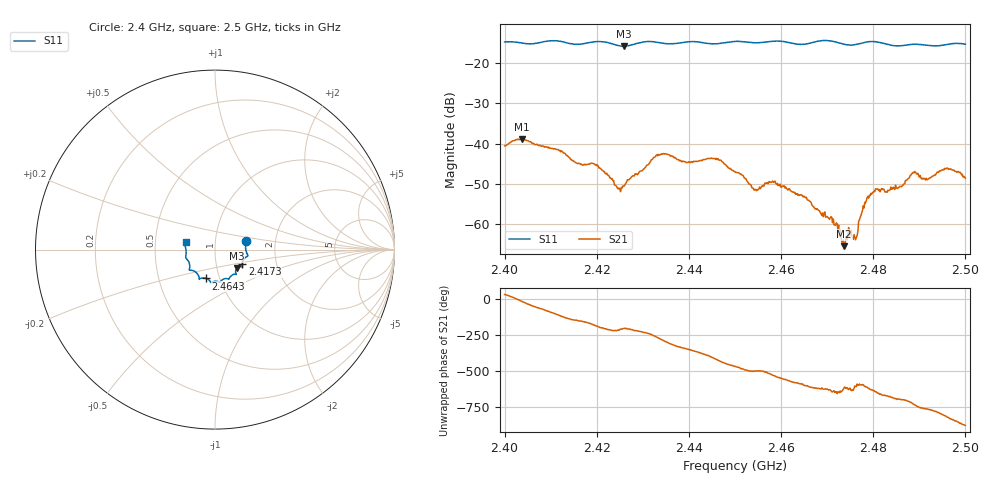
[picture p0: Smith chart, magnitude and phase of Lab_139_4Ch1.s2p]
# Hz S RI R 50
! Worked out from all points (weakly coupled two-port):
!   601 points, 2.4 GHz to 2.5 GHz, reference 50 ohm
!   highest |S21| = -38.85 dB at 2.4037 GHz (marker M1); lowest = -65.4 dB at 2.4737 GHz (marker M2)
!   lowest |S11| = -15.9 dB at 2.4258 GHz (marker M3), VSWR 1.38, Z = 62.3 - j13.3 ohm
!   |S11| at or under -10 dB: start of sweep to end of sweep
!   S12 and S22 are empty: the file has one direction only
!   S11 on the Smith chart (normalised r, x): 2.4 GHz: 1.41, +0.14; 2.4173 GHz: 1.34, -0.23; 2.4643 GHz: 0.86, -0.28; 2.5 GHz: 0.72, +0.06
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2.4e9  0.1733 0.0485  0.00778 0.0052  0 0  0 0
2.403667e9  0.1729 0.0287  0.0111 -0.00257  0 0  0 0
2.416667e9  0.1529 -0.0748  -0.00491 -0.00262  0 0  0 0
2.417333e9  0.1519 -0.0822  -0.00507 -0.00227  0 0  0 0
2.419833e9  0.1535 -0.0974  -0.00547 0.000341  0 0  0 0
2.425833e9  0.1217 -0.1037  -0.00273 0.00115  0 0  0 0
2.433333e9  0.1129 -0.1371  -0.00031 0.00733  0 0  0 0
2.445833e9  0.0485 -0.164  0.00355 -0.00526  0 0  0 0
2.45e9  0.0289 -0.1809  -0.00128 -0.0043  0 0  0 0
2.454167e9  0.00884 -0.1762  -0.00208 -0.00164  0 0  0 0
2.458167e9  -0.0196 -0.183  -0.00336 -0.000701  0 0  0 0
2.464333e9  -0.0499 -0.1606  -0.00154 0.00175  0 0  0 0
2.466667e9  -0.076 -0.1592  -0.000543 0.00167  0 0  0 0
2.471167e9  -0.0875 -0.1619  0.000262 0.00102  0 0  0 0
2.473667e9  -0.095 -0.1396  -0.000129 0.000522  0 0  0 0
2.476167e9  -0.1179 -0.1187  -0.000254 0.000593  0 0  0 0
2.479167e9  -0.1416 -0.1146  -0.000287 0.00227  0 0  0 0
2.483333e9  -0.1407 -0.0898  0.0019 0.00179  0 0  0 0
2.488833e9  -0.1626 -0.0463  0.00423 -0.000917  0 0  0 0
2.491833e9  -0.1613 -0.0271  0.0026 -0.0025  0 0  0 0
2.496333e9  -0.168 0.0224  -0.00108 -0.00466  0 0  0 0
2.5e9  -0.1637 0.0424  -0.00344 -0.00138  0 0  0 0
